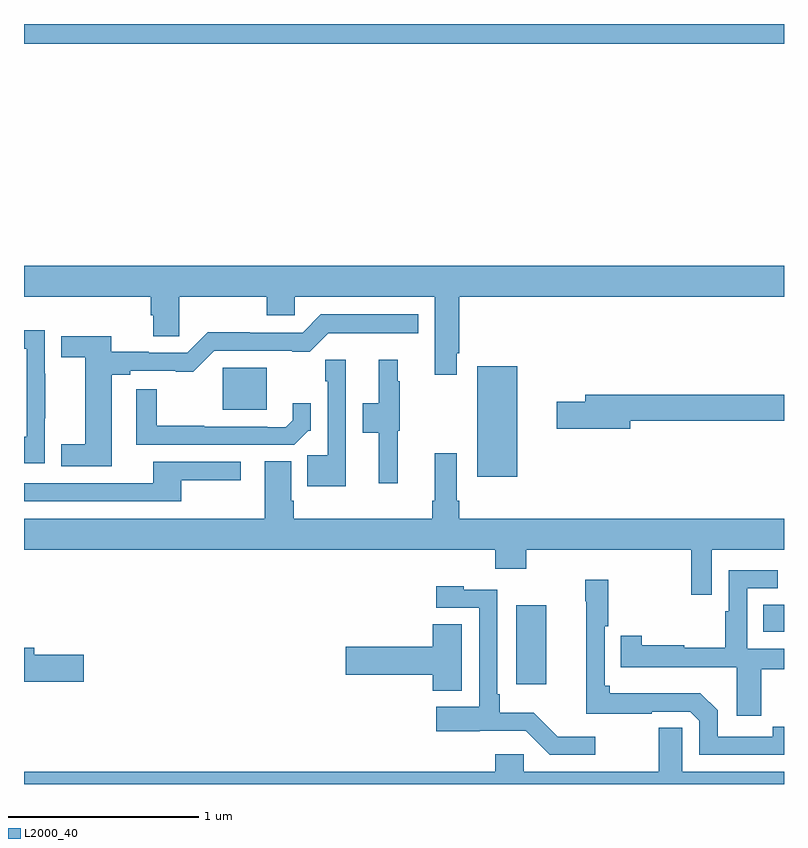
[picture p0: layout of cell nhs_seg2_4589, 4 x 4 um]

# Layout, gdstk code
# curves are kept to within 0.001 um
import gdstk
lib = gdstk.Library(unit=1e-6, precision=1e-09)
def R(c, l, rs):  # rectangles x0, y0, x1, y1
    for r in rs: c.add(gdstk.rectangle(r[:2], r[2:], *l))
def P(c, l, *ps):  # polygons
    for p in ps: c.add(gdstk.Polygon(p, *l))
L2000_40 = (2000, 40)

nhs_seg2_4589 = lib.new_cell('nhs_seg2_4589')
R(nhs_seg2_4589, L2000_40, [(363.59,584.325,363.748,584.74), (364.891,584.601,365,584.744), (363.386,585.416,363.595,586), (362.045,585.77,362.278,585.991), (361,587.696,365,587.8)])
P(nhs_seg2_4589, L2000_40, [(363.277,586.066),(363.29,586.066),(363.29,586.364),(365,586.364),(365,586.528),(361,586.528),(361,586.364),(361.667,586.364),(361.667,586.266),(361.679,586.266),(361.679,586.156),(361.818,586.156),(361.818,586.364),(362.278,586.364),(362.278,586.266),(362.424,586.266),(362.424,586.364),(363.161,586.364),(363.161,585.954),(363.277,585.954)],
  [(361.462,585.955),(361.558,585.955),(361.558,585.975),(361.799,585.975),(361.799,585.97),(361.891,585.97),(362.001,586.08),(362.411,586.08),(362.411,586.075),(362.503,586.075),(362.601,586.173),(363.076,586.172),(363.076,586.273),(362.563,586.273),(362.466,586.176),(362.189,586.176),(362.189,586.178),(361.967,586.178),(361.86,586.071),(361.656,586.071),(361.656,586.076),(361.459,586.076),(361.459,586.156),(361.195,586.156),(361.195,586.045),(361.322,586.045),(361.322,585.588),(361.195,585.588),(361.195,585.473),(361.462,585.473)],
  [(361.11,585.724),(361.112,585.724),(361.112,585.959),(361.11,585.959),(361.11,586.189),(361,586.189),(361,586.092),(361.014,586.092),(361.014,585.627),(361,585.627),(361,585.488),(361.11,585.488)],
  [(362.966,585.66),(362.977,585.66),(362.977,585.92),(362.966,585.92),(362.966,586.033),(362.867,586.033),(362.867,585.804),(362.783,585.804),(362.783,585.649),(362.867,585.649),(362.867,585.384),(362.966,585.384)],
  [(362.694,586.033),(362.586,586.033),(362.586,585.92),(362.598,585.92),(362.598,585.529),(362.492,585.529),(362.492,585.368),(362.694,585.368)],
  [(362.497,585.66),(362.508,585.66),(362.508,585.805),(362.414,585.805),(362.414,585.714),(362.378,585.678),(362.279,585.678),(362.279,585.681),(361.949,585.681),(361.949,585.686),(361.699,585.686),(361.699,585.877),(361.59,585.877),(361.59,585.585),(362.422,585.585)],
  [(364.192,585.712),(365,585.712),(365,585.848),(363.953,585.848),(363.953,585.812),(363.804,585.812),(363.804,585.67),(364.192,585.67)],
  [(364.62,585.032),(365,585.032),(365,585.196),(363.29,585.196),(363.29,585.292),(363.277,585.292),(363.277,585.541),(363.161,585.541),(363.161,585.292),(363.149,585.292),(363.149,585.196),(362.42,585.196),(362.42,585.292),(362.407,585.292),(362.407,585.5),(362.267,585.5),(362.267,585.196),(361,585.196),(361,585.032),(363.479,585.032),(363.479,584.933),(363.644,584.933),(363.644,585.032),(364.512,585.032),(364.512,584.796),(364.62,584.796)],
  [(361.827,585.398),(362.14,585.398),(362.14,585.495),(361.679,585.495),(361.679,585.384),(361,585.384),(361,585.288),(361.827,585.288)],
  [(364.879,584.403),(365,584.403),(365,584.511),(364.806,584.511),(364.806,584.829),(364.966,584.829),(364.966,584.925),(364.71,584.925),(364.71,584.708),(364.69,584.708),(364.69,584.516),(364.476,584.516),(364.476,584.531),(364.252,584.531),(364.252,584.581),(364.141,584.581),(364.141,584.414),(364.751,584.414),(364.751,584.16),(364.879,584.16)],
  [(365,584.101),(364.94,584.101),(364.94,584.049),(364.65,584.049),(364.65,584.187),(364.559,584.278),(364.084,584.278),(364.084,584.316),(364.056,584.316),(364.056,584.63),(364.076,584.63),(364.076,584.875),(363.953,584.875),(363.953,584.762),(363.959,584.762),(363.959,584.169),(364.303,584.169),(364.303,584.181),(364.506,584.181),(364.554,584.133),(364.554,583.953),(365,583.953)],
  [(364.006,584.05),(363.808,584.05),(363.682,584.176),(363.505,584.176),(363.505,584.272),(363.492,584.272),(363.492,584.823),(363.315,584.823),(363.315,584.842),(363.171,584.842),(363.171,584.727),(363.396,584.727),(363.396,584.206),(363.171,584.206),(363.171,584.078),(363.641,584.079),(363.767,583.953),(364.006,583.953)],
  [(363.304,584.642),(363.152,584.642),(363.152,584.522),(362.694,584.522),(362.694,584.375),(363.152,584.375),(363.152,584.291),(363.304,584.291)],
  [(361.315,584.48),(361.054,584.48),(361.054,584.516),(361,584.516),(361,584.338),(361.315,584.338)],
  [(365,583.864),(364.464,583.864),(364.464,584.096),(364.342,584.096),(364.342,583.864),(363.63,583.864),(363.63,583.957),(363.479,583.957),(363.479,583.864),(361,583.864),(361,583.8),(365,583.8)])

lib.write_gds('nhs_seg2_4589.gds')
